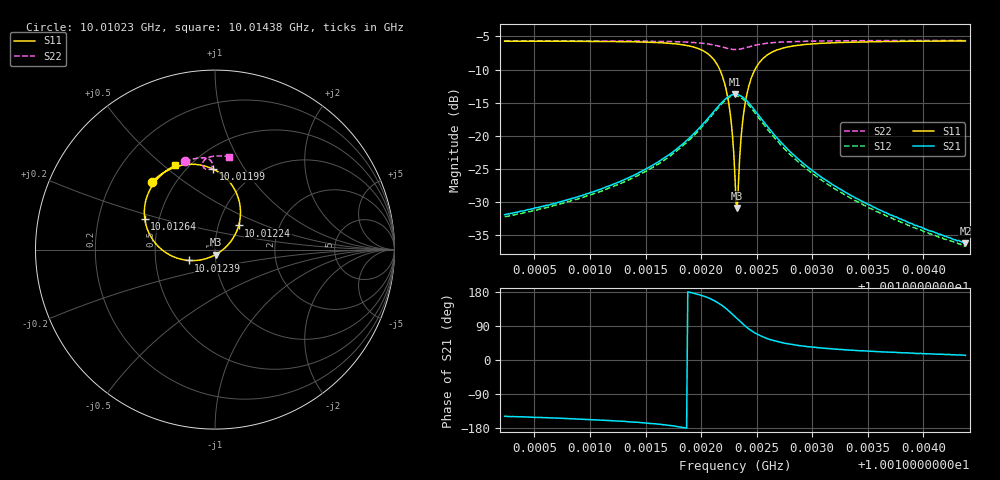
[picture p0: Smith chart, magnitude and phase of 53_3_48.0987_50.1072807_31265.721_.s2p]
#  HZ  S  RI  R  50.00
! Rohde & Schwarz Vector Network Analyzer
! Rohde-Schwarz,ZNB20-2Port,1311601062101988,3.16
! Created: UTC 12/23/2023, 3:40:00 AM
! freq[Hz]  re:S11  im:S11  re:S21  im:S21  re:S12  im:S12  re:S22  im:S22
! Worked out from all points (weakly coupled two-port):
!   401 points, 10.01023 GHz to 10.01438 GHz, reference 50 ohm
!   highest |S21| = -13.74 dB at 10.01231 GHz (marker M1); lowest = -36.2 dB at 10.01438 GHz (marker M2)
!   lowest |S11| = -30.9 dB at 10.01233 GHz (marker M3), VSWR 1.06, Z = 50.3 - j2.85 ohm
!   |S11| at or under -10 dB: 10.01217 GHz to 10.01249 GHz (317.3 kHz wide, 0.00317 % of centre)
!   |S22| runs from -7.0 to -5.6 dB; largest |S21 - S12| = 0.0096
!   S11 on the Smith chart (normalised r, x): 10.01023 GHz: 0.37, +0.39; 10.01199 GHz: 0.66, +0.73; 10.01224 GHz: 1.25, +0.35; 10.01239 GHz: 0.74, -0.09; 10.01264 GHz: 0.42, +0.17; 10.01438 GHz: 0.42, +0.55
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1.0010232e10  -0.3512 0.3793  -0.0217 -0.0133  -0.0202 -0.0138  -0.167 0.4915
1.0010927e10  -0.2951 0.4237  -0.0324 -0.0143  -0.0306 -0.0154  -0.1211 0.505
1.0011621e10  -0.183 0.4702  -0.0631 -0.0118  -0.0601 -0.0146  -0.0677 0.5117
1.0011994e10  -0.00946 0.4481  -0.1154 0.0178  -0.1128 0.011  -0.0288 0.5005
1.001215e10  0.1177 0.3182  -0.1448 0.0792  -0.1456 0.0698  -0.0147 0.4768
1.0012202e10  0.1414 0.2247  -0.1434 0.1152  -0.1449 0.107  -0.0159 0.4644
1.0012243e10  0.1323 0.1343  -0.1296 0.1477  -0.1329 0.1397  -0.0218 0.4544
1.0012274e10  0.101 0.0642  -0.1102 0.1705  -0.1143 0.1629  -0.0291 0.4488
1.0012305e10  0.0481 0.00276  -0.0842 0.1875  -0.0885 0.1805  -0.0383 0.4459
1.0012316e10  0.0276 -0.0131  -0.075 0.1913  -0.0786 0.1848  -0.0418 0.4457
1.0012326e10  0.00337 -0.0283  -0.0647 0.1943  -0.0694 0.1874  -0.0449 0.446
1.0012336e10  -0.0201 -0.0397  -0.0549 0.1961  -0.059 0.1895  -0.0482 0.4465
1.0012367e10  -0.0962 -0.0599  -0.0251 0.1959  -0.0293 0.1896  -0.0566 0.4504
1.0012388e10  -0.1462 -0.0606  -0.00619 0.1914  -0.0104 0.1852  -0.0613 0.4545
1.001243e10  -0.2345 -0.0383  0.025 0.1749  0.0189 0.1694  -0.0671 0.4639
1.0012481e10  -0.3118 0.0138  0.0487 0.1486  0.0424 0.1441  -0.069 0.4758
1.0012544e10  -0.3634 0.0827  0.0614 0.1191  0.0552 0.1157  -0.0662 0.4879
1.0012637e10  -0.3914 0.1712  0.0652 0.0851  0.0588 0.0831  -0.0576 0.5002
1.0012792e10  -0.387 0.267  0.0574 0.0517  0.0524 0.0515  -0.0415 0.5113
1.0013e10  -0.3607 0.3372  0.0453 0.0308  0.0417 0.0312  -0.0221 0.5175
1.0013694e10  -0.2827 0.4301  0.0238 0.00899  0.0223 0.00973  0.0315 0.5218
1.0014378e10  -0.2245 0.4691  0.0151 0.00328  0.0141 0.00406  0.0784 0.518
